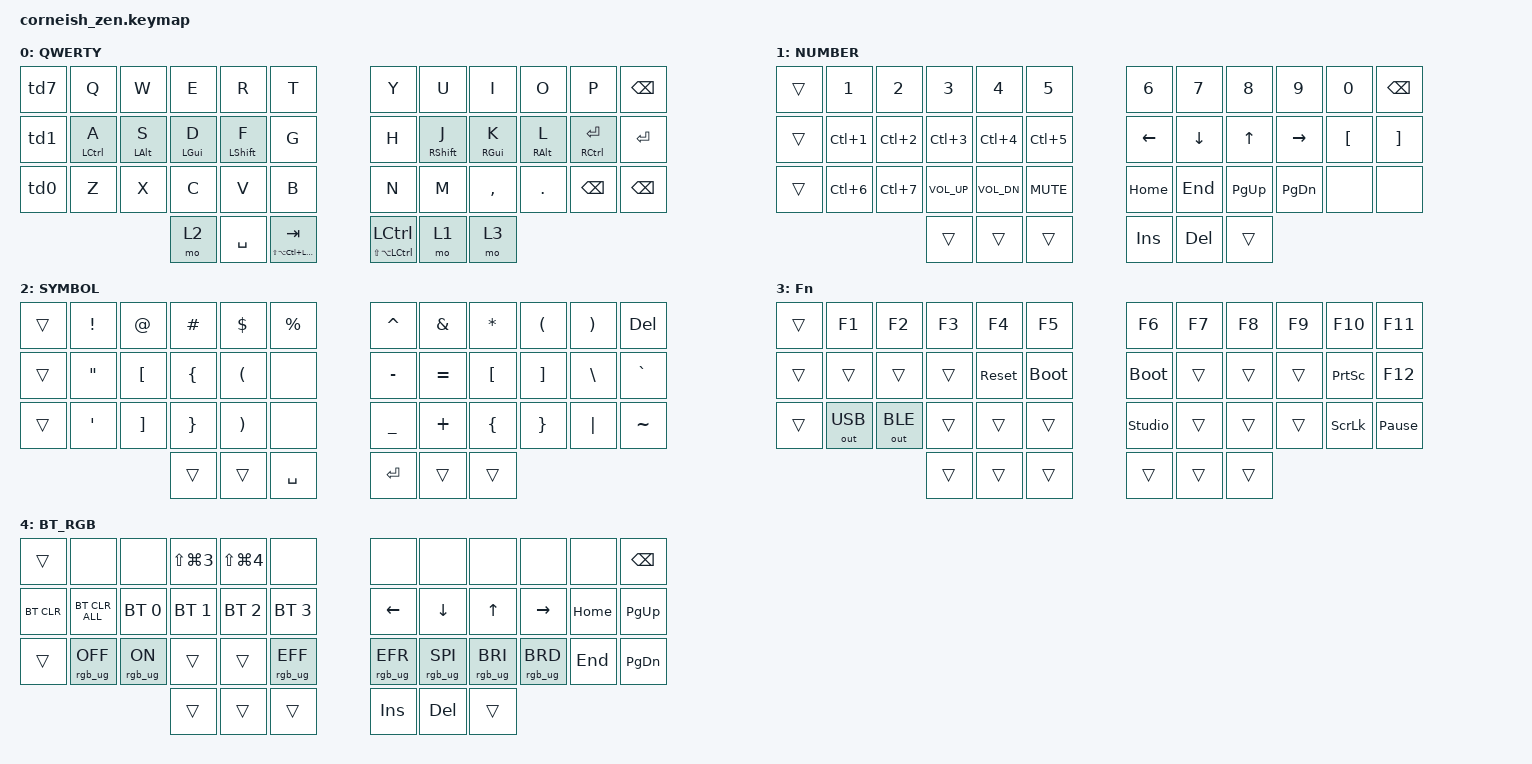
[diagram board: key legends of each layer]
/*
 * Copyright (c) 2020 The ZMK Contributors
 *
 * SPDX-License-Identifier: MIT
 */

#include <behaviors.dtsi>
#include <dt-bindings/zmk/bt.h>
#include <dt-bindings/zmk/keys.h>
#include <dt-bindings/zmk/outputs.h>
#include <dt-bindings/zmk/rgb.h>

/ {
    chosen { zmk,matrix_transform = &default_transform; };
};

/ {
    behaviors {
        td0: td0 {
            compatible = "zmk,behavior-tap-dance";
            label = "TD0";
            #binding-cells = <0>;
            bindings = <&kp LEFT_ALT>, <&kp LS(LEFT_ALT)>;
        };

        ht0: ht0 {
            compatible = "zmk,behavior-hold-tap";
            label = "HT0";
            bindings = <&kp>, <&kp>;

            #binding-cells = <2>;
            tapping-term-ms = <200>;
            flavor = "tap-preferred";
        };

        td1: td1 {
            compatible = "zmk,behavior-tap-dance";
            label = "TD1";
            #binding-cells = <0>;
            bindings = <&kp LEFT_GUI>, <&kp LS(LEFT_GUI)>;
        };

        hml: homewrow_mods_left {
            compatible = "zmk,behavior-hold-tap";
            label = "HOMEROW_MODS_LEFT_HAND";
            bindings = <&kp>, <&kp>;

            #binding-cells = <2>;
            tapping-term-ms = <193>;
            quick-tap-ms = <200>;
            require-prior-idle-ms = <170>;
            hold-trigger-key-positions = <6 7 8 9 10 11 18 19 20 21 22 23 30 31 32 33 34 35 39 40 41>;
            hold-trigger-on-release;
            flavor = "tap-preferred";
        };

        hmr: homewrow_mods_right {
            compatible = "zmk,behavior-hold-tap";
            label = "HOMEROW_MODS_RIGHT_HAND";
            bindings = <&kp>, <&kp>;

            #binding-cells = <2>;
            tapping-term-ms = <193>;
            quick-tap-ms = <200>;
            require-prior-idle-ms = <170>;
            hold-trigger-on-release;
            hold-trigger-key-positions = <0 1 2 3 4 5 12 13 14 15 16 17 24 25 26 27 28 29 36 37 38>;
            flavor = "tap-preferred";
        };

        td2: td2 {
            compatible = "zmk,behavior-tap-dance";
            label = "TD2";
            #binding-cells = <0>;
            bindings = <&kp LEFT_SHIFT>, <&kp LS(LA(LC(LGUI)))>;
        };

        td3: td3 {
            compatible = "zmk,behavior-tap-dance";
            label = "TD3";
            #binding-cells = <0>;
            bindings = <&kp LEFT_CONTROL>, <&kp LA(LC(LEFT_SHIFT))>;
        };

        td4: td4 {
            compatible = "zmk,behavior-tap-dance";
            label = "TD4";
            #binding-cells = <0>;
            bindings = <&kp RETURN>, <&kp APOS>;
        };

        td5: td5 {
            compatible = "zmk,behavior-tap-dance";
            label = "TD5";
            #binding-cells = <0>;
            bindings = <&kp TAB>, <&kp CAPS>;
        };

        td6: td6 {
            compatible = "zmk,behavior-tap-dance";
            label = "TD6";
            #binding-cells = <0>;
            bindings = <&kp SEMI>, <&kp RS(APOS)>, <&kp APOS>;
        };

        td7: td7 {
            compatible = "zmk,behavior-tap-dance";
            label = "TD7";
            #binding-cells = <0>;
            bindings = <&ht0 TAB ESC>, <&ht0 CAPS CAPS>;

            tapping-term-ms = <250>;
        };

        td8: td8 {
            compatible = "zmk,behavior-tap-dance";
            label = "TD8";
            #binding-cells = <0>;
            bindings =
                <&ht0 RIGHT_CONTROL SEMI>,
                <&ht0 APOSTROPHE DOUBLE_QUOTES>;
        };
    };

    combos {
        compatible = "zmk,combos";

        Layer_4 {
            bindings = <&mo 4>;
            key-positions = <40 41>;
        };

        command_control {
            bindings = <&kp LC(LEFT_GUI)>;
            key-positions = <12 0>;
        };

        option_control {
            bindings = <&kp LC(LEFT_ALT)>;
            key-positions = <0 1>;
        };

        browse_back {
            bindings = <&kp LG(LEFT_BRACKET)>;
            key-positions = <11 10>;
        };

        focus_next_win {
            bindings = <&kp LG(TILDE)>;
            key-positions = <7 8>;
            require-prior-idle-ms = <260>;
            timeout-ms = <30>;
        };

        copy {
            bindings = <&kp LG(C)>;
            key-positions = <7 6>;
            require-prior-idle-ms = <260>;
        };

        paste {
            bindings = <&kp LG(V)>;
            key-positions = <6 5>;
            require-prior-idle-ms = <260>;
        };

        escape {
            bindings = <&kp ESC>;
            key-positions = <0 1>;
            require-prior-idle-ms = <260>;
        };

        question_mark {
            bindings = <&kp QUESTION>;
            key-positions = <28 27>;
            require-prior-idle-ms = <275>;
        };

        foward_slash {
            bindings = <&kp SLASH>;
            key-positions = <27 26>;
            require-prior-idle-ms = <275>;
        };

        move_file {
            bindings = <&kp LG(LA(V))>;
            key-positions = <6 5 7>;
        };

        l_option_l_command {
            bindings = <&kp LA(LEFT_GUI)>;
            key-positions = <11 12>;
        };

        l_control_l_option {
            bindings = <&kp LC(LEFT_ALT)>;
            key-positions = <11 10>;
        };

        l_control_l_gui {
            bindings = <&kp LC(LEFT_GUI)>;
            key-positions = <10 12>;
        };

        l_control_l_shift {
            bindings = <&kp LC(LEFT_SHIFT)>;
            key-positions = <10 13>;
        };

        l_option_l_shift {
            bindings = <&kp LA(LEFT_SHIFT)>;
            key-positions = <11 13>;
        };

        l_command_l_shift {
            bindings = <&kp LG(LEFT_SHIFT)>;
            key-positions = <13 12>;
        };

        l_ctrl_opt_cmnd {
            bindings = <&kp LC(LA(LEFT_GUI))>;
            key-positions = <31 20>;
        };

        l_ctrl_cmnd_shift {
            bindings = <&kp LC(LG(LEFT_SHIFT))>;
            key-positions = <10 31>;
        };

        l_option_cmnd_shift {
            bindings = <&kp LG(LA(LEFT_SHIFT))>;
            key-positions = <31 0>;
        };

        r_option_r_command {
            bindings = <&kp RA(RIGHT_GUI)>;
            key-positions = <18 17>;
        };

        r_control_r_option {
            bindings = <&kp RC(RIGHT_ALT)>;
            key-positions = <19 18>;
        };

        r_control_r_gui {
            bindings = <&kp RC(RIGHT_GUI)>;
            key-positions = <19 17>;
        };

        r_control_r_shift {
            bindings = <&kp RC(RIGHT_SHIFT)>;
            key-positions = <19 16>;
        };

        r_option_r_shift {
            bindings = <&kp RA(RIGHT_SHIFT)>;
            key-positions = <18 16>;
        };

        r_command_r_shift {
            bindings = <&kp RG(RIGHT_SHIFT)>;
            key-positions = <17 16>;
        };

        r_ctrl_option_cmnd {
            bindings = <&kp RC(RA(RIGHT_GUI))>;
            key-positions = <32 29>;
        };

        r_ctrl_cmnd_shift {
            bindings = <&kp RC(RG(RSHIFT))>;
            key-positions = <32 19>;
        };

        r_option_cmnd_shift {
            bindings = <&kp RA(RG(RSHIFT))>;
            key-positions = <32 9>;
        };

        meh {
            bindings = <&kp RC(RA(RSHIFT))>;
            key-positions = <32 33>;
        };

        screenshot {
            bindings = <&kp LG(LS(NUMBER_3))>;
            key-positions = <2 3 1>;
        };

        screenshot_select {
            bindings = <&kp LG(LS(NUMBER_4))>;
            key-positions = <4 3 2>;
        };

        undo {
            bindings = <&kp LG(Z)>;
            key-positions = <4 3 13 14>;
        };

        redo {
            bindings = <&kp LG(LS(Z))>;
            key-positions = <5 6 15 16>;
        };

        left {
            bindings = <&kp LEFT>;
            key-positions = <26 16>;
        };

        down {
            bindings = <&kp DOWN>;
            key-positions = <27 17>;
        };

        up {
            bindings = <&kp UP>;
            key-positions = <28 18>;
        };

        right {
            bindings = <&kp RIGHT>;
            key-positions = <29 19>;
        };

        force_quit {
            bindings = <&kp LG(LA(ESC))>;
            key-positions = <3 4 5>;
        };
    };

    keymap {
        compatible = "zmk,keymap";

        default_layer {
            display-name = "QWERTY";

            //╭────┬────┬────┬────┬────┬────╮   ╭────┬────┬────┬────┬────┬────╮
            //│TAB │ Q  │ W  │ E  │ R  │ T  │   │ Y  │ U  │ I  │ O  │ P  │BSPC│
            //├────┼────┼────┼────┼────┼────┤   ├────┼────┼────┼────┼────┼────┤
            //│GUI │ A  │ S  │ D  │ F  │ G  │   │ H  │ J  │ K  │ L  │ ;  │ '  │
            //├────┼────┼────┼────┼────┼────┤   ├────┼────┼────┼────┼────┼────┤
            //│ALT │ Z  │ X  │ C  │ V  │ B  │   │ N  │ M  │ ,  │ .  │ /  │ESC │
            //╰────┴────┴────┴────┴────┴────╯   ╰────┴────┴────┴────┴────┴────╯
            //               ╭────┬────┬────╮   ╭────┬────┬────╮
            //               │CTL │SPC │SFT │   │MO1 │MO2 │MO3 │
            //               ╰────┴────┴────╯   ╰────┴────┴────╯

            bindings = <
&td7  &kp Q                &kp W            &kp E            &kp R              &kp T                            &kp Y                                   &kp U               &kp I             &kp O             &kp P                     &kp BSPC
&td1  &hml LEFT_CONTROL A  &hml LEFT_ALT S  &hml LEFT_GUI D  &hml LEFT_SHIFT F  &kp G                            &kp H                                   &hmr RIGHT_SHIFT J  &hmr RIGHT_GUI K  &hmr RIGHT_ALT L  &hmr RIGHT_CONTROL ENTER  &kp ENTER
&td0  &kp Z                &kp X            &kp C            &kp V              &kp B                            &kp N                                   &kp M               &kp COMMA         &kp DOT           &kp BACKSPACE             &kp BACKSPACE
                                            &mo 2            &kp SPACE          &ht0 LS(LA(LC(LEFT_GUI))) TAB    &ht0 LS(LA(LEFT_CONTROL)) LEFT_CONTROL  &mo 1               &mo 3
            >;
        };

        lower_layer {
            display-name = "NUMBER";

            //╭────┬────┬────┬────┬────┬────╮   ╭────┬────┬────┬────┬────┬────╮
            //│TAB │ 1  │ 2  │ 3  │ 4  │ 5  │   │ 6  │ 7  │ 8  │ 9  │ 0  │BSPC│
            //├────┼────┼────┼────┼────┼────┤   ├────┼────┼────┼────┼────┼────┤
            //│GUI │ A  │ S  │ D  │ F  │    │   │LFT │DWN │ UP │RIT │ [  │ ]  │
            //├────┼────┼────┼────┼────┼────┤   ├────┼────┼────┼────┼────┼────┤
            //│ALT │ VD │ VU │MUT │PLY │NXT │   │HOM │END │PGU │PGD │    │    │
            //╰────┴────┴────┴────┴────┴────╯   ╰────┴────┴────┴────┴────┴────╯
            //               ╭────┬────┬────╮   ╭────┬────┬────╮
            //               │CTL │SPC │SFT │   │ENT │RSE │ALT │
            //               ╰────┴────┴────╯   ╰────┴────┴────╯

            bindings = <
&trans  &kp N1            &kp N2            &kp N3            &kp N4            &kp N5        &kp N6    &kp N7    &kp N8       &kp N9         &kp N0            &kp BSPC
&trans  &kp LC(NUMBER_1)  &kp LC(NUMBER_2)  &kp LC(NUMBER_3)  &kp LC(NUMBER_4)  &kp LC(N5)    &kp LEFT  &kp DOWN  &kp UP       &kp RIGHT      &kp LEFT_BRACKET  &kp RIGHT_BRACKET
&trans  &kp LC(NUMBER_6)  &kp LC(N7)        &kp C_VOL_UP      &kp C_VOL_DN      &kp K_MUTE    &kp HOME  &kp END   &kp PAGE_UP  &kp PAGE_DOWN  &none             &none
                                            &trans            &trans            &trans        &kp INS   &kp DEL   &trans
            >;
        };

        raise_layer {
            display-name = "SYMBOL";

            //╭────┬────┬────┬────┬────┬────╮   ╭────┬────┬────┬────┬────┬────╮
            //│TAB │ !  │ @  │ #  │ $  │ %  │   │ ^  │ &  │ *  │ (  │ )  │DEL │
            //├────┼────┼────┼────┼────┼────┤   ├────┼────┼────┼────┼────┼────┤
            //│GUI │C+1 │C+2 │C+3 │C+4 │C+5 │   │ -  │ =  │ [  │ ]  │ \  │ `  │
            //├────┼────┼────┼────┼────┼────┤   ├────┼────┼────┼────┼────┼────┤
            //│ALT │C+6 │C+7 │    │    │    │   │ _  │ +  │ {  │ }  │ |  │ `  │
            //╰────┴────┴────┴────┴────┴────╯   ╰────┴────┴────┴────┴────┴────╯
            //               ╭────┬────┬────╮   ╭────┬────┬────╮
            //               │GUI │LWR │SPC │   │ENT │RSE │ALT │
            //               ╰────┴────┴────╯   ╰────┴────┴────╯

            bindings = <
&trans  &kp EXCL           &kp AT             &kp HASH         &kp DLLR               &kp PRCNT    &kp CARET  &kp AMPS   &kp ASTRK  &kp LPAR  &kp RPAR  &kp DEL
&trans  &kp DOUBLE_QUOTES  &kp LEFT_BRACKET   &kp LEFT_BRACE   &kp LEFT_PARENTHESIS   &none        &kp MINUS  &kp EQUAL  &kp LBKT   &kp RBKT  &kp BSLH  &kp GRAVE
&trans  &kp SINGLE_QUOTE   &kp RIGHT_BRACKET  &kp RIGHT_BRACE  &kp RIGHT_PARENTHESIS  &none        &kp UNDER  &kp PLUS   &kp LBRC   &kp RBRC  &kp PIPE  &kp TILDE
                                              &trans           &trans                 &kp SPACE    &kp RET    &trans     &trans
            >;
        };

        layer_3 {
            display-name = "Fn";

            //╭────┬────┬────┬────┬────┬────╮   ╭────┬────┬────┬────┬────┬────╮
            //│ TAB│ F1 │ F2 │ F3 │ F4 │ F5 │   │ F6 │ F7 │ F8 │ F9 │ F10│ F11│
            //├────┼────┼────┼────┼────┼────┤   ├────┼────┼────┼────┼────┼────┤
            //│CTL │ A  │ S  │ D  │ F  │ G  │   │ H  │ J  │ K  │ L  │ ;  │ F12│
            //├────┼────┼────┼────┼────┼────┤   ├────┼────┼────┼────┼────┼────┤
            //│SFT │ Z  │ X  │ C  │ V  │ B  │   │ N  │ M  │ ,  │ .  │ /  │ESC │
            //╰────┴────┴────┴────┴────┴────╯   ╰────┴────┴────┴────┴────┴────╯
            //               ╭────┬────┬────╮   ╭────┬────┬────╮
            //               │GUI │LWR │SPC │   │ENT │RSE │ALT │
            //               ╰────┴────┴────╯   ╰────┴────┴────╯

            bindings = <
&trans  &kp F1        &kp F2        &kp F3  &kp F4      &kp F5         &kp F6          &kp F7  &kp F8  &kp F9  &kp F10          &kp F11
&trans  &trans        &trans        &trans  &sys_reset  &bootloader    &bootloader     &trans  &trans  &trans  &kp PRINTSCREEN  &kp F12
&trans  &out OUT_USB  &out OUT_BLE  &trans  &trans      &trans         &studio_unlock  &trans  &trans  &trans  &kp SCROLLLOCK   &kp PAUSE_BREAK
                                    &trans  &trans      &trans         &trans          &trans  &trans
            >;
        };

        layer_4 {
            display-name = "BT_RGB";

            //╭────┬────┬────┬────┬────┬────╮   ╭────┬────┬────┬────┬────┬────╮
            //│ TAB│ Q  │ W  │PS3 │PS4 │ T  │   │ Y  │ U  │ I  │ O  │ P  │BSPC│
            //├────┼────┼────┼────┼────┼────┤   ├────┼────┼────┼────┼────┼────┤
            //│BTC │BTCA│BTS0│BTS1│BTS2│BTS3│   │ H  │ J  │ K  │ L  │ ;  │ '  │
            //├────┼────┼────┼────┼────┼────┤   ├────┼────┼────┼────┼────┼────┤
            //│SFT │RGOF│RGPN│    │    │RGEF│   │RGER│RGSP│RGB+│RGB-│ /  │ESC │
            //╰────┴────┴────┴────┴────┴────╯   ╰────┴────┴────┴────┴────┴────╯
            //               ╭────┬────┬────╮   ╭────┬────┬────╮
            //               │GUI │LWR │SPC │   │ENT │RSE │ALT │
            //               ╰────┴────┴────╯   ╰────┴────┴────╯

            bindings = <
&trans      &none            &none           &kp LS(LG(N3))  &kp LS(LG(NUMBER_4))  &none              &none            &none            &none            &none            &none     &kp BSPC
&bt BT_CLR  &bt BT_CLR_ALL   &bt BT_SEL 0    &bt BT_SEL 1    &bt BT_SEL 2          &bt BT_SEL 3       &kp LEFT         &kp DOWN         &kp UP           &kp RIGHT        &kp HOME  &kp PG_UP
&trans      &rgb_ug RGB_OFF  &rgb_ug RGB_ON  &trans          &trans                &rgb_ug RGB_EFF    &rgb_ug RGB_EFR  &rgb_ug RGB_SPI  &rgb_ug RGB_BRI  &rgb_ug RGB_BRD  &kp END   &kp PG_DN
                                             &trans          &trans                &trans             &kp INS          &kp DEL          &trans
            >;
        };
    };
};
